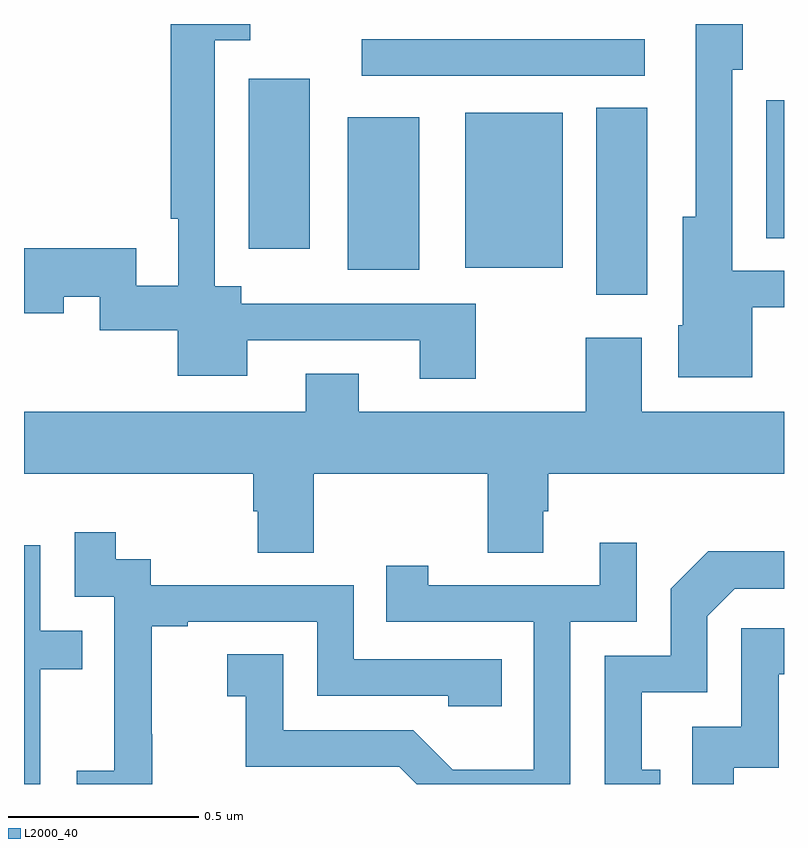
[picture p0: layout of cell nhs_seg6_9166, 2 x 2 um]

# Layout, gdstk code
import gdstk
lib = gdstk.Library(unit=1e-6, precision=1e-09)
def R(c, l, rs):  # rectangles x0, y0, x1, y1
    for r in rs: c.add(gdstk.rectangle(r[:2], r[2:], *l))
def P(c, l, *ps):  # polygons
    for p in ps: c.add(gdstk.Polygon(p, *l))
L2000_40 = (2000, 40)

nhs_seg6_9166 = lib.new_cell('nhs_seg6_9166')
R(nhs_seg6_9166, L2000_40, [(231.506,967.788,231.64,968.279), (230.852,967.853,231.04,968.254), (231.161,967.859,231.418,968.266), (230.591,967.908,230.752,968.356), (231.953,967.936,232,968.299), (230.889,968.364,231.634,968.46)])
P(nhs_seg6_9166, L2000_40, [(231.916,967.755),(232,967.755),(232,967.851),(231.864,967.851),(231.864,968.379),(231.891,968.379),(231.891,968.5),(231.768,968.5),(231.768,967.993),(231.734,967.993),(231.734,967.707),(231.722,967.707),(231.722,967.571),(231.916,967.571)],
  [(231.189,967.764),(230.572,967.764),(230.572,967.81),(230.502,967.81),(230.502,968.457),(230.596,968.457),(230.596,968.5),(230.386,968.5),(230.386,967.988),(230.406,967.988),(230.406,967.811),(230.295,967.811),(230.295,967.91),(230,967.91),(230,967.739),(230.104,967.739),(230.104,967.782),(230.199,967.782),(230.199,967.694),(230.405,967.694),(230.405,967.574),(230.587,967.574),(230.587,967.668),(231.041,967.668),(231.041,967.566),(231.189,967.566)],
  [(230.763,967.316),(231.22,967.316),(231.22,967.108),(231.367,967.108),(231.367,967.218),(231.38,967.218),(231.38,967.316),(232,967.316),(232,967.48),(231.625,967.48),(231.625,967.675),(231.478,967.675),(231.478,967.48),(230.881,967.48),(230.881,967.579),(230.741,967.579),(230.741,967.48),(230,967.48),(230,967.316),(230.603,967.316),(230.603,967.218),(230.615,967.218),(230.615,967.108),(230.763,967.108)],
  [(230.337,966.631),(230.336,966.631),(230.336,966.915),(230.431,966.915),(230.431,966.927),(230.772,966.927),(230.772,966.732),(231.117,966.732),(231.117,966.705),(231.257,966.705),(231.257,966.828),(230.868,966.828),(230.868,967.023),(230.334,967.023),(230.334,967.092),(230.242,967.092),(230.242,967.162),(230.133,967.162),(230.133,966.993),(230.238,966.993),(230.238,966.764),(230.237,966.764),(230.237,966.535),(230.139,966.535),(230.139,966.5),(230.337,966.5)],
  [(231.438,966.927),(231.612,966.927),(231.612,967.135),(231.515,967.135),(231.515,967.023),(231.064,967.023),(231.064,967.075),(230.953,967.075),(230.953,966.927),(231.342,966.927),(231.342,966.538),(231.128,966.538),(231.024,966.642),(230.682,966.642),(230.682,966.841),(230.535,966.841),(230.535,966.731),(230.584,966.731),(230.584,966.546),(230.987,966.546),(231.033,966.5),(231.438,966.5)],
  [(230.043,966.802),(230.153,966.802),(230.153,966.903),(230.043,966.903),(230.043,967.128),(230,967.128),(230,966.5),(230.043,966.5)],
  [(231.674,966.537),(231.625,966.537),(231.625,966.741),(231.798,966.741),(231.798,966.942),(231.87,967.014),(232,967.014),(232,967.112),(231.8,967.112),(231.702,967.014),(231.702,966.837),(231.528,966.837),(231.528,966.5),(231.674,966.5)],
  [(231.868,966.543),(231.986,966.543),(231.986,966.789),(232,966.789),(232,966.91),(231.888,966.91),(231.888,966.651),(231.759,966.651),(231.759,966.5),(231.868,966.5)])

lib.write_gds('nhs_seg6_9166.gds')
